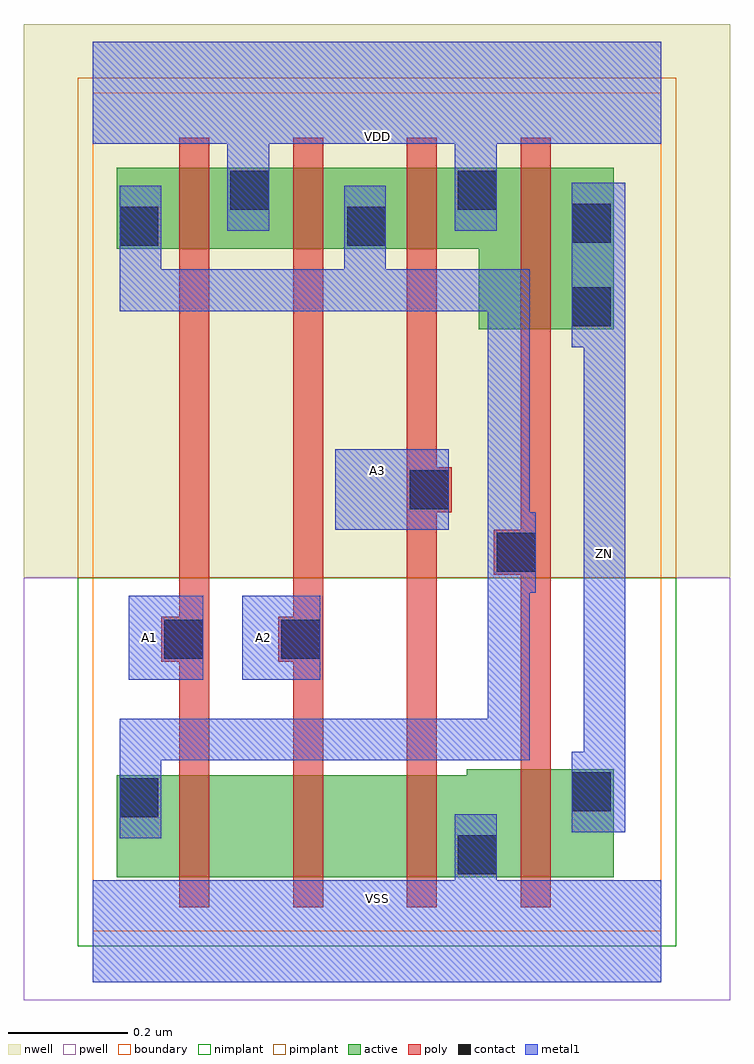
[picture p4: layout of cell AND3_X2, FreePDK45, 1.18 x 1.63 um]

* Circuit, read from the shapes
.subckt AND3_X2 A1 A2 A3 VDD VSS ZN
M1 n1 A1 n2 VSUBS nfet w=0.17u l=0.05u
M2 n3 A2 n1 VSUBS nfet w=0.17u l=0.05u
M3 VSS A3 n3 VSUBS nfet w=0.17u l=0.05u
M4 ZN n2 VSS VSUBS nfet w=0.18u l=0.05u
M5 VDD A1 n2 n4 pfet w=0.135u l=0.05u
M6 n2 A2 VDD n4 pfet w=0.135u l=0.05u
M7 VDD A3 n2 n4 pfet w=0.135u l=0.05u
M8 ZN n2 VDD n4 pfet w=0.27u l=0.05u
.ends

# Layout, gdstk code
import gdstk
lib = gdstk.Library(unit=1e-6, precision=1e-10)
def R(c, l, rs):  # rectangles x0, y0, x1, y1
    for r in rs: c.add(gdstk.rectangle(r[:2], r[2:], *l))
def P(c, l, *ps):  # polygons
    for p in ps: c.add(gdstk.Polygon(p, *l))
active = (1, 0)
pwell = (2, 0)
nwell = (3, 0)
nimplant = (4, 0)
pimplant = (5, 0)
poly = (9, 0)
contact = (10, 0)
metal1 = (11, 0)
boundary = (235, 0)

and3_x2 = lib.new_cell('AND3_X2')
P(and3_x2, active, [(0.04,0.09),(0.87,0.09),(0.87,0.27),(0.625,0.27),(0.625,0.26),(0.04,0.26)],
  [(0.04,1.14),(0.645,1.14),(0.645,1.005),(0.87,1.005),(0.87,1.275),(0.04,1.275)])
R(and3_x2, pwell, [(-0.115,-0.115,1.065,0.59)])
R(and3_x2, nwell, [(-0.115,0.59,1.065,1.515)])
R(and3_x2, nimplant, [(-0.025,-0.025,0.975,0.59)])
R(and3_x2, pimplant, [(-0.025,0.59,0.975,1.425)])
P(and3_x2, poly, [(0.115,0.45),(0.145,0.45),(0.145,0.04),(0.195,0.04),(0.195,1.325),(0.145,1.325),(0.145,0.525),(0.115,0.525)],
  [(0.31,0.45),(0.335,0.45),(0.335,0.04),(0.385,0.04),(0.385,1.325),(0.335,1.325),(0.335,0.525),(0.31,0.525)],
  [(0.525,0.04),(0.575,0.04),(0.575,0.7),(0.6,0.7),(0.6,0.775),(0.575,0.775),(0.575,1.325),(0.525,1.325)],
  [(0.67,0.595),(0.715,0.595),(0.715,0.04),(0.765,0.04),(0.765,1.325),(0.715,1.325),(0.715,0.67),(0.67,0.67)])
R(and3_x2, contact, [(0.61,0.095,0.675,0.16), (0.045,0.19,0.11,0.255), (0.8,0.2,0.865,0.265), (0.12,0.455,0.185,0.52), (0.315,0.455,0.38,0.52), (0.675,0.6,0.74,0.665), (0.53,0.705,0.595,0.77), (0.8,1.01,0.865,1.075), (0.045,1.145,0.11,1.21), (0.425,1.145,0.49,1.21), (0.8,1.15,0.865,1.215), (0.23,1.205,0.295,1.27), (0.61,1.205,0.675,1.27)])
R(and3_x2, metal1, [(0.06,0.42,0.185,0.56), (0.25,0.42,0.38,0.56), (0.405,0.67,0.595,0.805)])
P(and3_x2, metal1, [(0.045,1.035),(0.66,1.035),(0.66,0.355),(0.045,0.355),(0.045,0.155),(0.115,0.155),(0.115,0.285),(0.73,0.285),(0.73,0.565),(0.74,0.565),(0.74,0.7),(0.73,0.7),(0.73,1.105),(0.49,1.105),(0.49,1.245),(0.42,1.245),(0.42,1.105),(0.115,1.105),(0.115,1.245),(0.045,1.245)],
  [(0.8,0.975),(0.82,0.975),(0.82,0.3),(0.8,0.3),(0.8,0.165),(0.89,0.165),(0.89,1.25),(0.8,1.25)],
  [(0,-0.085),(0.95,-0.085),(0.95,0.085),(0.675,0.085),(0.675,0.195),(0.605,0.195),(0.605,0.085),(0,0.085)],
  [(0,1.315),(0.225,1.315),(0.225,1.17),(0.295,1.17),(0.295,1.315),(0.605,1.315),(0.605,1.17),(0.675,1.17),(0.675,1.315),(0.95,1.315),(0.95,1.485),(0,1.485)])
R(and3_x2, boundary, [(0,0,0.95,1.4)])
and3_x2.add(gdstk.Label('A1', (0.095,0.49), layer=11, texttype=0))
and3_x2.add(gdstk.Label('A2', (0.285,0.49), layer=11, texttype=0))
and3_x2.add(gdstk.Label('A3', (0.475,0.77), layer=11, texttype=0))
and3_x2.add(gdstk.Label('VDD', (0.475,1.3275), layer=11, texttype=0))
and3_x2.add(gdstk.Label('VSS', (0.475,0.055), layer=11, texttype=0))
and3_x2.add(gdstk.Label('ZN', (0.855,0.63), layer=11, texttype=0))

lib.write_gds('AND3_X2.gds')
